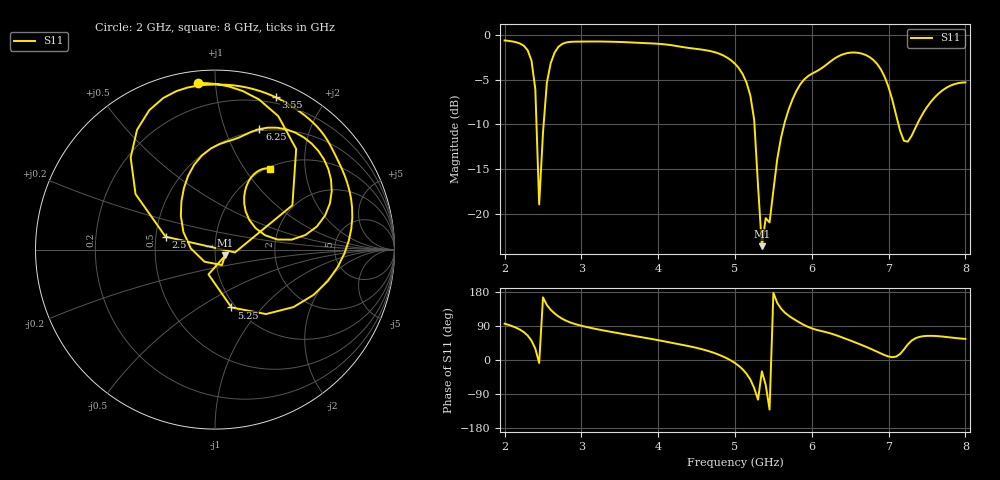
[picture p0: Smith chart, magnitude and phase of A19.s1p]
! Generated by Hertzon (EMerge FEM)
# HZ S RI R 50
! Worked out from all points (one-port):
!   121 points, 2 GHz to 8 GHz, reference 50 ohm
!   lowest |S11| = -23.7 dB at 5.35 GHz (marker M1), VSWR 1.14, Z = 55.9 - j3.67 ohm
!   |S11| at or under -10 dB: 2.415 GHz to 2.508 GHz (92.96 MHz wide, 3.78 % of centre); 5.253 GHz to 5.641 GHz (387.9 MHz wide, 7.12 % of centre); 7.128 GHz to 7.372 GHz (243.2 MHz wide, 3.36 % of centre)
!   S11 on the Smith chart (normalised r, x): 2 GHz: 0.06, +0.90; 2.5 GHz: 0.56, +0.09; 3.55 GHz: 0.14, +1.46; 5.25 GHz: 0.96, -0.69; 6.25 GHz: 0.48, +1.32; 8 GHz: 1.03, +1.31
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2e9  -0.0952 0.9285
2.25e9  0.2455 0.8363
2.35e9  0.4522 0.5607
2.4e9  0.4312 0.2473
2.45e9  0.1114 -0.0157
2.5e9  -0.2756 0.0721
2.6e9  -0.4699 0.5127
2.75e9  -0.2885 0.8446
3.5e9  0.3112 0.8607
3.55e9  0.3373 0.8491
4.25e9  0.6401 0.585
4.65e9  0.7484 0.3311
5e9  0.684 -0.0964
5.15e9  0.4372 -0.3202
5.25e9  0.0917 -0.3223
5.3e9  -0.0363 -0.1381
5.35e9  0.0569 -0.0327
5.4e9  0.0384 -0.0861
5.45e9  -0.0583 -0.0675
5.6e9  -0.1902 0.1877
5.75e9  -0.1498 0.4111
6.25e9  0.247 0.6714
6.5e9  0.4962 0.6242
6.85e9  0.6402 0.2572
7.05e9  0.4274 0.0556
7.25e9  0.1907 0.1662
7.6e9  0.2 0.4004
8e9  0.3057 0.4495
